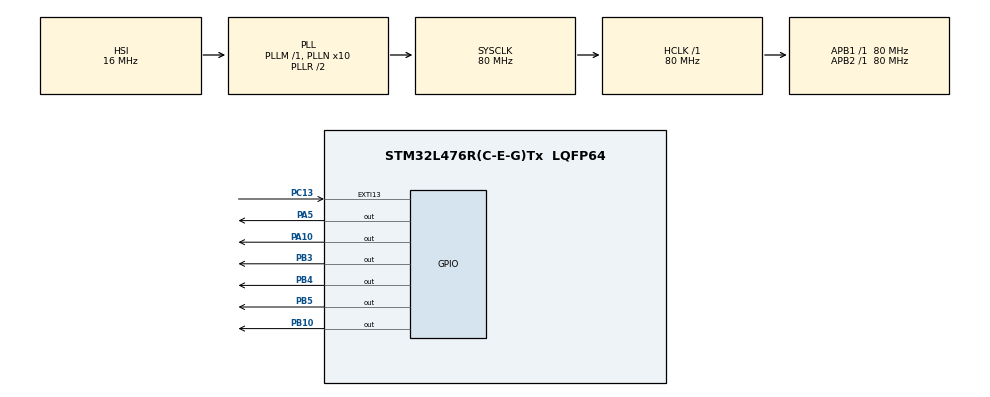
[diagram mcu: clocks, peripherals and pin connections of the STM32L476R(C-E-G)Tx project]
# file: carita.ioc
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Mcu.Family=STM32L4
Mcu.Name=STM32L476R(C-E-G)Tx
Mcu.Package=LQFP64
NUCLEO-L476RG.BUTTON=1
NUCLEO-L476RG.LD2=true
NVIC.EXTI15_10_IRQn=true\:0\:0\:false\:false\:true\:false\:true\:true
NVIC.PriorityGroup=NVIC_PRIORITYGROUP_4
PA10.Signal=GPIO_Output
PA13\ (JTMS-SWDIO).GPIO_Label=TMS
PA13\ (JTMS-SWDIO).Signal=SYS_JTMS-SWDIO
PA14\ (JTCK-SWCLK).GPIO_Label=TCK
PA14\ (JTCK-SWCLK).Signal=SYS_JTCK-SWCLK
PA2.GPIO_Label=USART_TX
PA2.GPIO_Mode=GPIO_MODE_AF_PP
PA2.GPIO_PuPd=GPIO_NOPULL
PA2.GPIO_Speed=GPIO_SPEED_FREQ_VERY_HIGH
PA2.Signal=USART2_TX
PA3.GPIO_Label=USART_RX
PA3.GPIO_Mode=GPIO_MODE_AF_PP
PA3.GPIO_PuPd=GPIO_NOPULL
PA3.GPIO_Speed=GPIO_SPEED_FREQ_VERY_HIGH
PA3.Signal=USART2_RX
PA5.Signal=GPIO_Output
PB10.Signal=GPIO_Output
PB3\ (JTDO-TRACESWO).Signal=GPIO_Output
PB4\ (NJTRST).Signal=GPIO_Output
PB5.Signal=GPIO_Output
PC13.Signal=GPXTI13
PC14-OSC32_IN\ (PC14).Signal=RCC_OSC32_IN
PC15-OSC32_OUT\ (PC15).Signal=RCC_OSC32_OUT
PH0-OSC_IN\ (PH0).Signal=RCC_OSC_IN
PH1-OSC_OUT\ (PH1).Signal=RCC_OSC_OUT
ProjectManager.HeapSize=0x200
ProjectManager.StackSize=0x400
ProjectManager.TargetToolchain=STM32CubeIDE
RCC.ADCFreq_Value=64000000
RCC.AHBFreq_Value=80000000
RCC.APB1Freq_Value=80000000
RCC.APB1TimFreq_Value=80000000
RCC.APB2Freq_Value=80000000
RCC.APB2TimFreq_Value=80000000
RCC.CortexFreq_Value=80000000
RCC.HCLKFreq_Value=80000000
RCC.HSE_VALUE=8000000
RCC.HSI_VALUE=16000000
RCC.LSE_VALUE=32768
RCC.MSI_VALUE=4000000
RCC.PLLN=10
RCC.PLLSourceVirtual=RCC_PLLSOURCE_HSI
RCC.PREFETCH_ENABLE=1
RCC.SYSCLKFreq_VALUE=80000000
RCC.SYSCLKSource=RCC_SYSCLKSOURCE_PLLCLK
RCC.USBFreq_Value=64000000
RCC.VCOOutputFreq_Value=160000000
VP_NUCLEO-L476RG_VS_BSP_COMMON.Mode=COMMON
board=NUCLEO-L476RG

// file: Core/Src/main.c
/* USER CODE BEGIN Header */
/**
  ******************************************************************************
  * @file           : main.c
  * @brief          : Main program body
  ******************************************************************************
  * @attention
  *
  * Copyright (c) 2026 STMicroelectronics.
  * All rights reserved.
  *
  * This software is licensed under terms that can be found in the LICENSE file
  * in the root directory of this software component.
  * If no LICENSE file comes with this software, it is provided AS-IS.
  *
  ******************************************************************************
  */
/* USER CODE END Header */
#include "main.h"

void SystemClock_Config(void);
static void MX_GPIO_Init(void);

int main(void)
{

  /* MCU Configuration--------------------------------------------------------*/

  /* Reset of all peripherals, Initializes the Flash interface and the Systick. */
  HAL_Init();

  /* Configure the system clock */
  SystemClock_Config();

  /* Initialize all configured peripherals */
  MX_GPIO_Init();

  /* Initialize leds */
  BSP_LED_Init(LED_GREEN);

  /* Initialize USER push-button, will be used to trigger an interrupt each time it's pressed.*/
  BSP_PB_Init(BUTTON_USER, BUTTON_MODE_EXTI);

  /* Infinite loop */
  /* USER CODE BEGIN WHILE */
  while (1)
  {
	  HAL_GPIO_WritePin(GPIOA, GPIO_PIN_10, GPIO_PIN_SET);
	  HAL_Delay(50);
	  HAL_GPIO_WritePin(GPIOB, GPIO_PIN_3, GPIO_PIN_SET);
	  HAL_Delay(50);
	  HAL_GPIO_WritePin(GPIOB, GPIO_PIN_5, GPIO_PIN_SET);
	  HAL_Delay(50);
	  HAL_GPIO_WritePin(GPIOB, GPIO_PIN_4, GPIO_PIN_SET);
	  HAL_Delay(50);
	  HAL_GPIO_WritePin(GPIOB, GPIO_PIN_10, GPIO_PIN_SET);
	  HAL_Delay(50);

	  HAL_GPIO_WritePin(GPIOB, GPIO_PIN_10, GPIO_PIN_RESET);
	  HAL_Delay(50);
	  HAL_GPIO_WritePin(GPIOB, GPIO_PIN_4, GPIO_PIN_RESET);
	  HAL_Delay(50);
	  HAL_GPIO_WritePin(GPIOB, GPIO_PIN_5, GPIO_PIN_RESET);
	  HAL_Delay(50);
	  HAL_GPIO_WritePin(GPIOB, GPIO_PIN_3, GPIO_PIN_RESET);
	  HAL_Delay(50);
	  HAL_GPIO_WritePin(GPIOA, GPIO_PIN_10, GPIO_PIN_RESET);
	  HAL_Delay(50);

    /* USER CODE END WHILE */

  }
}

void SystemClock_Config(void)
{
  RCC_OscInitTypeDef RCC_OscInitStruct = {0};
  RCC_ClkInitTypeDef RCC_ClkInitStruct = {0};

  /** Configure the main internal regulator output voltage
  */
  if (HAL_PWREx_ControlVoltageScaling(PWR_REGULATOR_VOLTAGE_SCALE1) != HAL_OK)
  {
    Error_Handler();
  }

  /** Initializes the RCC Oscillators according to the specified parameters
  * in the RCC_OscInitTypeDef structure.
  */
  RCC_OscInitStruct.OscillatorType = RCC_OSCILLATORTYPE_HSI;
  RCC_OscInitStruct.HSIState = RCC_HSI_ON;
  RCC_OscInitStruct.HSICalibrationValue = RCC_HSICALIBRATION_DEFAULT;
  RCC_OscInitStruct.PLL.PLLState = RCC_PLL_ON;
  RCC_OscInitStruct.PLL.PLLSource = RCC_PLLSOURCE_HSI;
  RCC_OscInitStruct.PLL.PLLM = 1;
  RCC_OscInitStruct.PLL.PLLN = 10;
  RCC_OscInitStruct.PLL.PLLP = RCC_PLLP_DIV7;
  RCC_OscInitStruct.PLL.PLLQ = RCC_PLLQ_DIV2;
  RCC_OscInitStruct.PLL.PLLR = RCC_PLLR_DIV2;
  if (HAL_RCC_OscConfig(&RCC_OscInitStruct) != HAL_OK)
  {
    Error_Handler();
  }

  /** Initializes the CPU, AHB and APB buses clocks
  */
  RCC_ClkInitStruct.ClockType = RCC_CLOCKTYPE_HCLK|RCC_CLOCKTYPE_SYSCLK
                              |RCC_CLOCKTYPE_PCLK1|RCC_CLOCKTYPE_PCLK2;
  RCC_ClkInitStruct.SYSCLKSource = RCC_SYSCLKSOURCE_PLLCLK;
  RCC_ClkInitStruct.AHBCLKDivider = RCC_SYSCLK_DIV1;
  RCC_ClkInitStruct.APB1CLKDivider = RCC_HCLK_DIV1;
  RCC_ClkInitStruct.APB2CLKDivider = RCC_HCLK_DIV1;

  if (HAL_RCC_ClockConfig(&RCC_ClkInitStruct, FLASH_LATENCY_4) != HAL_OK)
  {
    Error_Handler();
  }
}

static void MX_GPIO_Init(void)
{
  GPIO_InitTypeDef GPIO_InitStruct = {0};

  /* GPIO Ports Clock Enable */
  __HAL_RCC_GPIOC_CLK_ENABLE();
  __HAL_RCC_GPIOH_CLK_ENABLE();
  __HAL_RCC_GPIOA_CLK_ENABLE();
  __HAL_RCC_GPIOB_CLK_ENABLE();

  /*Configure GPIO pin Output Level */
  HAL_GPIO_WritePin(GPIOB, GPIO_PIN_10|GPIO_PIN_3|GPIO_PIN_4|GPIO_PIN_5, GPIO_PIN_RESET);

  /*Configure GPIO pin Output Level */
  HAL_GPIO_WritePin(GPIOA, GPIO_PIN_10, GPIO_PIN_RESET);

  /*Configure GPIO pins : USART_TX_Pin USART_RX_Pin */
  GPIO_InitStruct.Pin = USART_TX_Pin|USART_RX_Pin;
  GPIO_InitStruct.Mode = GPIO_MODE_AF_PP;
  GPIO_InitStruct.Pull = GPIO_NOPULL;
  GPIO_InitStruct.Speed = GPIO_SPEED_FREQ_VERY_HIGH;
  GPIO_InitStruct.Alternate = GPIO_AF7_USART2;
  HAL_GPIO_Init(GPIOA, &GPIO_InitStruct);

  /*Configure GPIO pins : PB10 PB3 PB4 PB5 */
  GPIO_InitStruct.Pin = GPIO_PIN_10|GPIO_PIN_3|GPIO_PIN_4|GPIO_PIN_5;
  GPIO_InitStruct.Mode = GPIO_MODE_OUTPUT_PP;
  GPIO_InitStruct.Pull = GPIO_NOPULL;
  GPIO_InitStruct.Speed = GPIO_SPEED_FREQ_LOW;
  HAL_GPIO_Init(GPIOB, &GPIO_InitStruct);

  /*Configure GPIO pin : PA10 */
  GPIO_InitStruct.Pin = GPIO_PIN_10;
  GPIO_InitStruct.Mode = GPIO_MODE_OUTPUT_PP;
  GPIO_InitStruct.Pull = GPIO_NOPULL;
  GPIO_InitStruct.Speed = GPIO_SPEED_FREQ_LOW;
  HAL_GPIO_Init(GPIOA, &GPIO_InitStruct);

}

void Error_Handler(void)
{
  __disable_irq();
  while (1)
  {
  }
}
